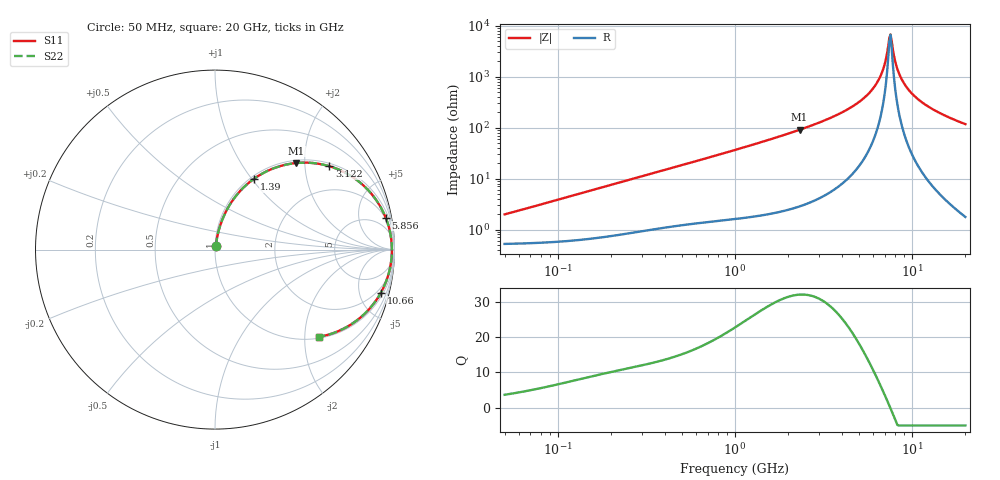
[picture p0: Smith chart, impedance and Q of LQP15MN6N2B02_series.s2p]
!Murata Part Number: LQP15MN6N2B02
!These Parameters are Measured in Series Mode Connection
!  o--[Z]--o
!Port1  Port2
!  o-------o
!Freq. Start=50[MHz] Stop=20[GHz], 401[Steps]
# Hz S RI R 50
!Freq.(Hz) S11(Real) S11(Imag) S21(Real) S21(Imag) S12(Real) S12(Imag) S22(Real) S22(Imag)
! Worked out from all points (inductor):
!   401 points, 50 MHz to 20 GHz, reference 50 ohm
!   read as one part in series: L = 6.08 nH near 51.52 MHz
!   highest Q = 32 at 2.314 GHz (marker M1), where L = 6.25 nH
!   self-resonance near 7.442 GHz
!   S11 on the Smith chart (normalised r, x): 50 MHz: 1.01, +0.04; 1.39 GHz: 1.04, +1.03; 3.122 GHz: 1.09, +2.68; 5.856 GHz: 2, +10; 10.66 GHz: 1.38, -7.53; 20 GHz: 1.04, -2.35
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5e7  0.00554 0.0189  0.9945 -0.0189  0.9945 -0.0189  0.00554 0.0189
1.364002e8  0.00888 0.051  0.9911 -0.051  0.9911 -0.051  0.00888 0.051
3.721004e8  0.0283 0.1322  0.9717 -0.1322  0.9717 -0.1322  0.0283 0.1322
1e9  0.1281 0.3129  0.8719 -0.3129  0.8719 -0.3129  0.1281 0.3129
1.390315e9  0.2172 0.3945  0.7828 -0.3945  0.7828 -0.3945  0.2172 0.3945
2.313601e9  0.4537 0.4825  0.5463 -0.4825  0.5463 -0.4825  0.4537 0.4825
2.728004e9  0.553 0.4816  0.447 -0.4816  0.447 -0.4816  0.553 0.4816
3.121702e9  0.6377 0.4645  0.3623 -0.4645  0.3623 -0.4645  0.6377 0.4645
4.539627e9  0.8537 0.331  0.1463 -0.331  0.1463 -0.331  0.8537 0.331
5.856089e9  0.951 0.178  0.049 -0.178  0.049 -0.178  0.951 0.178
6.311513e9  0.9682 0.1267  0.0318 -0.1267  0.0318 -0.1267  0.9682 0.1267
6.701223e9  0.9778 0.0844  0.0222 -0.0844  0.0222 -0.0844  0.9778 0.0844
7.009217e9  0.9825 0.0521  0.0175 -0.0521  0.0175 -0.0521  0.9825 0.0521
7.331367e9  0.9851 0.0196  0.0149 -0.0196  0.0149 -0.0196  0.9851 0.0196
7.442007e9  0.9855 0.00877  0.0145 -0.00877  0.0145 -0.00877  0.9855 0.00877
7.668323e9  0.9855 -0.013  0.0145 0.013  0.0145 0.013  0.9855 -0.013
8.141811e9  0.9827 -0.0564  0.0173 0.0564  0.0173 0.0564  0.9827 -0.0564
8.644534e9  0.976 -0.0994  0.024 0.0994  0.024 0.0994  0.976 -0.0994
9.457416e9  0.9589 -0.1623  0.0411 0.1623  0.0411 0.1623  0.9589 -0.1623
1.066139e10  0.9235 -0.2415  0.0765 0.2415  0.0765 0.2415  0.9235 -0.2415
1.396067e10  0.7992 -0.3875  0.2008 0.3875  0.2008 0.3875  0.7992 -0.3875
2e10  0.5782 -0.4864  0.4218 0.4864  0.4218 0.4864  0.5782 -0.4864
